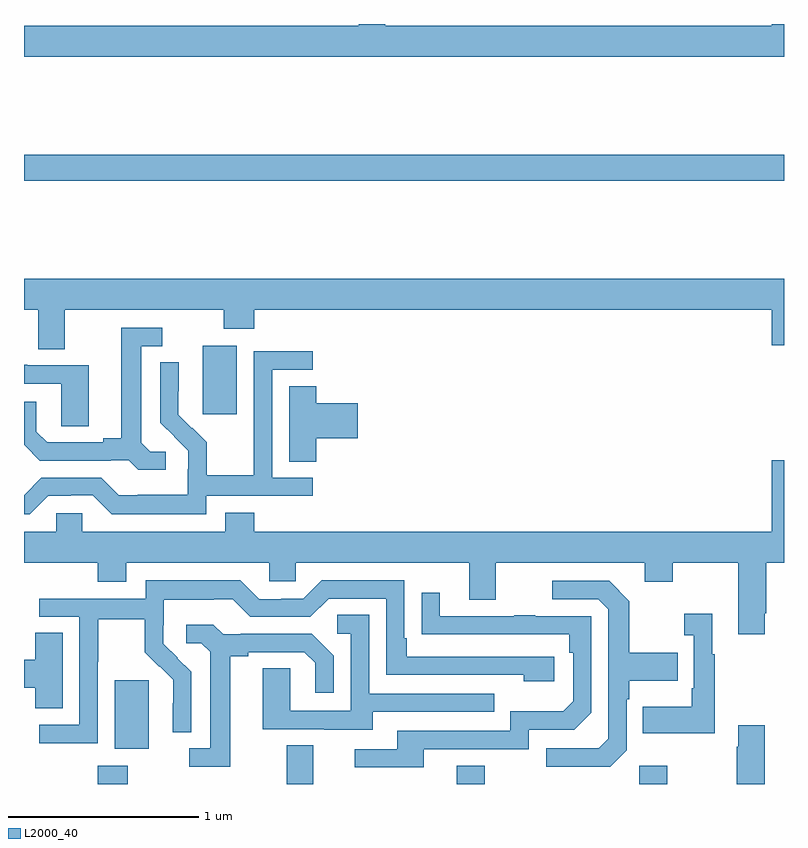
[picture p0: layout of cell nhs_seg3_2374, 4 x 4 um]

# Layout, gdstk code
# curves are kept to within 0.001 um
import gdstk
lib = gdstk.Library(unit=1e-6, precision=1e-09)
def R(c, l, rs):  # rectangles x0, y0, x1, y1
    for r in rs: c.add(gdstk.rectangle(r[:2], r[2:], *l))
def P(c, l, *ps):  # polygons
    for p in ps: c.add(gdstk.Polygon(p, *l))
L2000_40 = (2000, 40)

nhs_seg3_2374 = lib.new_cell('nhs_seg3_2374')
R(nhs_seg3_2374, L2000_40, [(233.387,718.4,233.547,718.495), (234.383,718.4,234.523,718.604), (235.277,718.4,235.425,718.495), (236.238,718.4,236.385,718.495), (233.477,718.586,233.656,718.947), (233.942,720.345,234.121,720.706), (233,721.576,237,721.712)])
P(nhs_seg3_2374, L2000_40, [(237,722.4),(236.936,722.4),(236.936,722.392),(234.901,722.392),(234.901,722.4),(234.761,722.4),(234.761,722.392),(233,722.392),(233,722.228),(237,722.228)],
  [(233.215,720.896),(234.052,720.896),(234.052,720.797),(234.212,720.797),(234.212,720.896),(236.936,720.896),(236.936,720.708),(237,720.708),(237,721.06),(233,721.06),(233,720.896),(233.075,720.896),(233.075,720.688),(233.215,720.688)],
  [(233.746,720.15),(233.664,720.15),(233.617,720.197),(233.617,720.705),(233.728,720.705),(233.728,720.801),(233.513,720.801),(233.513,720.221),(233.417,720.221),(233.417,720.198),(233.122,720.198),(233.065,720.255),(233.065,720.412),(233,720.412),(233,720.186),(233.084,720.102),(233.456,720.102),(233.456,720.105),(233.55,720.105),(233.602,720.053),(233.746,720.053)],
  [(233.958,719.916),(234.52,719.916),(234.52,720.012),(234.306,720.012),(234.306,720.579),(234.52,720.579),(234.52,720.678),(234.21,720.678),(234.21,720.248),(234.208,720.248),(234.208,720.025),(233.963,720.025),(233.963,720.199),(233.886,720.276),(233.883,720.273),(233.813,720.344),(233.814,720.62),(233.718,720.62),(233.718,720.302),(233.864,720.154),(233.864,720.057),(233.862,720.057),(233.862,719.923),(233.599,719.923),(233.599,719.919),(233.499,719.919),(233.406,720.012),(233.091,720.012),(233,719.921),(233,719.82),(233.031,719.82),(233.127,719.916),(233.246,719.916),(233.246,719.919),(233.361,719.919),(233.461,719.819),(233.958,719.819)],
  [(233.341,720.603),(233.017,720.603),(233.017,720.607),(233,720.607),(233,720.507),(233.196,720.507),(233.196,720.283),(233.341,720.283)],
  [(234.539,720.221),(234.757,720.221),(234.757,720.404),(234.539,720.404),(234.539,720.494),(234.395,720.494),(234.395,720.097),(234.539,720.097)],
  [(236.899,719.299),(236.907,719.299),(236.907,719.564),(237,719.564),(237,720.103),(236.936,720.103),(236.936,719.728),(234.212,719.728),(234.212,719.827),(234.059,719.827),(234.059,719.728),(233.307,719.728),(233.307,719.826),(233.169,719.826),(233.169,719.728),(233,719.728),(233,719.564),(233.387,719.564),(233.387,719.465),(233.539,719.465),(233.539,719.564),(234.291,719.564),(234.291,719.466),(234.429,719.466),(234.429,719.564),(235.343,719.564),(235.343,719.37),(235.483,719.37),(235.483,719.564),(236.267,719.564),(236.267,719.465),(236.415,719.465),(236.415,719.564),(236.759,719.564),(236.759,719.187),(236.899,719.187)],
  [(233.388,719.044),(233.391,719.044),(233.391,719.268),(233.635,719.268),(233.635,719.093),(233.712,719.016),(233.715,719.019),(233.786,718.949),(233.786,718.826),(233.784,718.826),(233.784,718.672),(233.88,718.672),(233.88,718.99),(233.734,719.138),(233.734,719.235),(233.736,719.235),(233.736,719.369),(233.999,719.369),(233.999,719.373),(234.099,719.373),(234.192,719.28),(234.507,719.28),(234.603,719.376),(234.906,719.376),(234.906,718.974),(235.631,718.974),(235.631,718.94),(235.792,718.94),(235.792,719.07),(235.015,719.07),(235.015,719.167),(235.002,719.167),(235.002,719.472),(234.567,719.472),(234.471,719.376),(234.353,719.376),(234.353,719.373),(234.237,719.373),(234.137,719.473),(233.64,719.473),(233.64,719.376),(233.079,719.376),(233.079,719.28),(233.292,719.28),(233.292,718.713),(233.079,718.713),(233.079,718.615),(233.388,718.615)],
  [(236.172,718.578),(236.172,718.847),(236.185,718.847),(236.185,718.943),(236.441,718.943),(236.441,719.091),(236.185,719.091),(236.185,719.363),(236.079,719.469),(235.779,719.469),(235.779,719.373),(236.022,719.373),(236.076,719.319),(236.076,718.638),(236.025,718.587),(235.749,718.587),(235.749,718.491),(236.085,718.491)],
  [(235.105,718.584),(235.656,718.584),(235.656,718.686),(235.896,718.686),(235.986,718.776),(235.986,719.283),(235.691,719.283),(235.691,719.288),(235.579,719.288),(235.579,719.283),(235.189,719.283),(235.189,719.407),(235.093,719.407),(235.093,719.188),(235.87,719.187),(235.87,719.09),(235.89,719.09),(235.89,718.836),(235.837,718.783),(235.56,718.783),(235.56,718.68),(234.965,718.68),(234.965,718.584),(234.741,718.584),(234.741,718.488),(235.105,718.488)],
  [(236.635,719.083),(236.623,719.083),(236.623,719.296),(236.475,719.296),(236.475,719.183),(236.526,719.183),(236.526,718.903),(236.514,718.903),(236.514,718.807),(236.257,718.807),(236.257,718.667),(236.635,718.667)],
  [(234.835,718.779),(235.475,718.779),(235.475,718.875),(234.816,718.875),(234.816,719.291),(234.648,719.291),(234.648,719.19),(234.72,719.19),(234.72,718.785),(234.402,718.785),(234.402,719.009),(234.257,719.009),(234.257,718.689),(234.581,718.689),(234.581,718.685),(234.835,718.685)],
  [(234.085,719.072),(234.181,719.072),(234.181,719.094),(234.476,719.094),(234.533,719.037),(234.533,718.881),(234.63,718.881),(234.63,719.074),(234.514,719.19),(234.142,719.19),(234.142,719.187),(234.048,719.187),(233.996,719.239),(233.853,719.239),(233.853,719.142),(233.934,719.142),(233.981,719.095),(233.981,718.587),(233.871,718.587),(233.871,718.491),(234.085,718.491)],
  [(233.203,719.195),(233.06,719.195),(233.06,719.054),(233,719.054),(233,718.907),(233.06,718.907),(233.06,718.798),(233.203,718.798)],
  [(236.899,718.708),(236.759,718.708),(236.759,718.595),(236.752,718.595),(236.752,718.4),(236.899,718.4)])

lib.write_gds('nhs_seg3_2374.gds')
